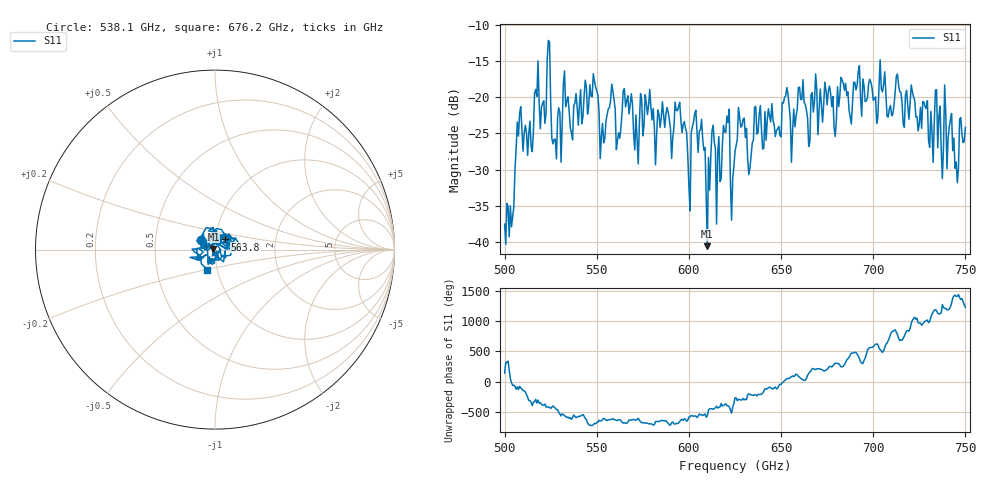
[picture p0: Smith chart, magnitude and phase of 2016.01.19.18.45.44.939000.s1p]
!Created with skrf (http://scikit-rf.org).
# GHz S RI R 50.0
!freq ReS11 ImS11
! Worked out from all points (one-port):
!   401 points, 500 GHz to 750 GHz, reference 50 ohm
!   lowest |S11| = -40.6 dB at 610 GHz (marker M1), VSWR 1.02, Z = 49.2 + j0.391 ohm
!   |S11| at or under -10 dB: start of sweep to end of sweep
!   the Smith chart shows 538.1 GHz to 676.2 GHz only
!   S11 on the Smith chart (normalised r, x): 538.1 GHz: 0.86, +0.09; 563.8 GHz: 1.11, +0.13; 676.2 GHz: 0.90, -0.20
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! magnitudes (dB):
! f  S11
! 500 GHz  -37.5
! 503.8 GHz  -37.9
! 508.1 GHz  -22.3
! 513.8 GHz  -23.3
! 523.8 GHz  -12.1
! 526.9 GHz  -25.8
! 531.2 GHz  -23.4
! 538.1 GHz  -20.8
! 549.4 GHz  -18.6
! 553.1 GHz  -23.6
! 558.1 GHz  -18.2
! 562.5 GHz  -25.7
! 563.8 GHz  -21.9
! 593.8 GHz  -21.8
! 599.4 GHz  -28.0
! 606.9 GHz  -23.0
! 610 GHz  -40.6
! 620.6 GHz  -22.6
! 623.8 GHz  -31.3
! 625 GHz  -27.5
! 652.5 GHz  -19.8
! 656.2 GHz  -24.6
! 660.6 GHz  -20.3
! 676.2 GHz  -18.4
! 687.5 GHz  -22.7
! 718.8 GHz  -21.2
! 745 GHz  -29.0
! 750 GHz  -24.2
